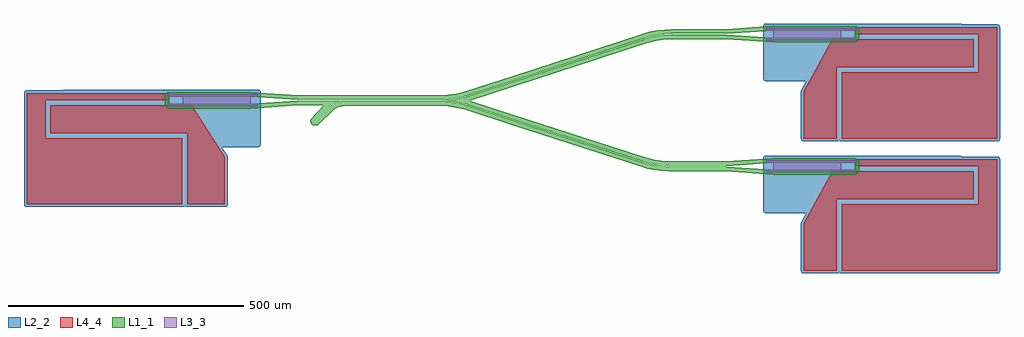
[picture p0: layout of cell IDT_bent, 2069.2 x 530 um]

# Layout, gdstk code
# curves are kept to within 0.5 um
import gdstk
lib = gdstk.Library(unit=1e-6, precision=1e-09)
def P(c, l, *ps):  # polygons
    for p in ps: c.add(gdstk.Polygon(p, *l))
L1_1 = (1, 1)
L2_2 = (2, 2)
L3_3 = (3, 3)
L4_4 = (4, 4)

idt_bent = lib.new_cell('IDT_bent')
P(idt_bent, L1_1, [(-1178.8,-12.75),(-1352.58,-12.702),(-1357.944,-10.48),(-1361.169,-5.653),(-1361.552,13.23),(-1360.839,16.077),(-1358.671,19.321),(-1355.427,21.489),(-1351.6,22.25),(-1178.8,22.25),(-1078.455,15.35),(-778.833,15.35),(-761.47,16.145),(-741.85,18.989),(-722.635,23.869),(-623.677,56.018),(-623.677,45.491),(-724.675,12.836),(-745.032,8.23),(-765.759,5.777),(-1078.8,5.35),(-1178.8,12.25),(-1351.6,12.25),(-1351.6,-2.75),(-1178.8,-2.75),(-1078.8,4.15),(-770.924,4.305),(-750.015,6.226),(-726.881,10.985),(-623.677,44.229),(-623.677,33.721),(-714.846,4.1),(-623.677,-25.521),(-623.677,-36.029),(-721.827,-4.211),(-739.665,0.196),(-755.222,2.66),(-778.8,4.05),(-979.431,4.046),(-986.342,3.485),(-993.715,1.802),(-1000.755,-0.961),(-1007.304,-4.742),(-1014.58,-10.77),(-1042.44,-39.479),(-1008.628,-7.172),(-997.989,-1.029),(-986.771,2.203),(-978.8,2.85),(-773.58,2.782),(-750.188,0.786),(-727.191,-3.944),(-623.677,-37.291),(-623.677,-47.818),(-722.635,-15.669),(-741.85,-10.789),(-761.47,-7.945),(-778.833,-7.15),(-984.186,-7.52),(-994.104,-10.244),(-1002.59,-15.143),(-1037.103,-47.937),(-1042.589,-49.478),(-1047.203,-48.272),(-1050.158,-45.837),(-1051.982,-42.471),(-1052.407,-38.666),(-1051.371,-34.981),(-1023.801,-5.85),(-1078.455,-5.85)],
  [(-349.587,145.063),(-333.67,149.546),(-317.451,152.767),(-301.159,154.695),(-287.393,155.331),(-171.545,155.35),(-71.2,162.25),(102.58,162.202),(105.427,161.489),(108.671,159.321),(110.839,156.077),(111.552,153.23),(111.169,134.347),(107.944,129.52),(102.58,127.298),(-71.2,127.25),(-171.545,134.15),(-289.528,134.085),(-304.368,133.112),(-319.086,130.978),(-343.129,124.87),(-623.677,33.721),(-623.677,44.229),(-343.701,135.181),(-328.578,139.233),(-313.183,142.086),(-287.181,144.133),(-171.2,144.15),(-71.2,137.25),(101.6,137.25),(101.6,152.25),(-71.2,152.25),(-171.2,145.35),(-287.196,145.333),(-310.754,143.634),(-328.842,140.404),(-344.057,136.327),(-623.677,45.491),(-623.677,56.018)],
  [(-347.13,-115.37),(-323.087,-121.478),(-308.369,-123.612),(-293.529,-124.585),(-171.545,-124.65),(-71.2,-117.75),(102.58,-117.798),(106.314,-118.931),(109.33,-121.406),(110.839,-123.923),(111.6,-127.75),(111.6,-142.75),(110.839,-146.577),(107.156,-151.065),(102.58,-152.702),(-71.2,-152.75),(-171.545,-145.85),(-294.019,-145.779),(-307.907,-144.96),(-324.172,-142.819),(-337.799,-140.016),(-353.588,-135.563),(-623.677,-47.818),(-623.677,-37.291),(-348.058,-126.827),(-330.279,-131.466),(-312.15,-134.46),(-291.197,-135.833),(-171.2,-135.85),(-71.2,-142.75),(101.6,-142.75),(101.6,-127.75),(-71.2,-127.75),(-171.2,-134.65),(-291.182,-134.633),(-317.184,-132.586),(-332.579,-129.733),(-347.702,-125.681),(-623.677,-36.029),(-623.677,-25.521)])
P(idt_bent, L2_2, [(-12.4,23.5),(-11.678,26.353),(-1.329,45.5),(-86.4,45.5),(-89.228,46.208),(-91.692,48.672),(-92.4,51.5),(-92.4,161.5),(-91.389,164.833),(-88.142,167.242),(323.6,167.5),(325.896,167.043),(328.063,165.5),(404.188,165.471),(407.406,164.138),(409.342,161.242),(409.6,-76.5),(408.589,-79.833),(405.342,-82.242),(73.6,-82.5),(70.772,-81.792),(68.6,-79.815),(66.428,-81.792),(63.6,-82.5),(-8.142,-82.242),(-11.389,-79.833),(-12.4,-76.5)],
  [(-6.4,-362.5),(-10.643,-360.743),(-12.371,-357.088),(-12.4,-256.5),(-11.678,-253.647),(-1.329,-234.5),(-86.4,-234.5),(-89.228,-233.792),(-91.389,-231.833),(-92.4,-228.5),(-92.4,-118.5),(-91.692,-115.672),(-89.228,-113.208),(-86.4,-112.5),(323.6,-112.5),(325.896,-112.957),(328.063,-114.5),(404.188,-114.529),(406.933,-115.511),(408.892,-117.672),(409.6,-120.5),(409.6,-356.5),(408.892,-359.328),(406.428,-361.792),(403.6,-362.5),(73.6,-362.5),(70.772,-361.792),(68.6,-359.815),(66.428,-361.792),(63.6,-362.5)],
  [(-1578.063,25.5),(-1575.896,27.043),(-1573.6,27.5),(-1161.858,27.242),(-1158.611,24.833),(-1157.6,21.5),(-1157.858,-90.242),(-1159.794,-93.138),(-1163.012,-94.471),(-1239.852,-94.5),(-1228.538,-112.279),(-1227.627,-114.934),(-1227.6,-215.5),(-1228.611,-218.833),(-1231.858,-221.242),(-1313.6,-221.5),(-1316.428,-220.792),(-1318.6,-218.815),(-1320.772,-220.792),(-1323.6,-221.5),(-1655.342,-221.242),(-1658.589,-218.833),(-1659.6,-215.5),(-1659.342,21.242),(-1657.406,24.138),(-1654.188,25.471)])
P(idt_bent, L3_3, [(-68.845,-128.25),(-68.4,-128.25),(-68.4,-143),(-67.045,-143),(-67.045,-128.25),(-66.6,-128.25),(-66.6,-143),(-65.245,-143),(-65.245,-128.25),(-64.8,-128.25),(-64.8,-143),(-63.445,-143),(-63.445,-128.25),(-63,-128.25),(-63,-143),(-61.645,-143),(-61.645,-128.25),(-61.2,-128.25),(-61.2,-143),(-59.845,-143),(-59.845,-128.25),(-59.4,-128.25),(-59.4,-143),(-58.045,-143),(-58.045,-128.25),(-57.6,-128.25),(-57.6,-143),(-56.245,-143),(-56.245,-128.25),(-55.8,-128.25),(-55.8,-143),(-54.445,-143),(-54.445,-128.25),(-54,-128.25),(-54,-143),(-52.645,-143),(-52.645,-128.25),(-52.2,-128.25),(-52.2,-143),(-50.845,-143),(-50.845,-128.25),(-50.4,-128.25),(-50.4,-143),(-49.045,-143),(-49.045,-128.25),(-48.6,-128.25),(-48.6,-143),(-47.245,-143),(-47.245,-128.25),(-46.8,-128.25),(-46.8,-143),(-45.445,-143),(-45.445,-128.25),(-45,-128.25),(-45,-143),(-43.645,-143),(-43.645,-128.25),(-43.2,-128.25),(-43.2,-143),(-41.845,-143),(-41.845,-128.25),(-41.4,-128.25),(-41.4,-143),(-40.045,-143),(-40.045,-128.25),(-39.6,-128.25),(-39.6,-143),(-38.245,-143),(-38.245,-128.25),(-37.8,-128.25),(-37.8,-143),(-36.445,-143),(-36.445,-128.25),(-36,-128.25),(-36,-143),(-34.645,-143),(-34.645,-128.25),(-34.2,-128.25),(-34.2,-143),(-32.845,-143),(-32.845,-128.25),(-32.4,-128.25),(-32.4,-143),(-31.045,-143),(-31.045,-128.25),(-30.6,-128.25),(-30.6,-143),(-29.245,-143),(-29.245,-128.25),(-28.8,-128.25),(-28.8,-143),(-27.445,-143),(-27.445,-128.25),(-27,-128.25),(-27,-143),(-25.645,-143),(-25.645,-128.25),(-25.2,-128.25),(-25.2,-143),(-23.845,-143),(-23.845,-128.25),(-23.4,-128.25),(-23.4,-143),(-22.045,-143),(-22.045,-128.25),(-21.6,-128.25),(-21.6,-143),(-20.245,-143),(-20.245,-128.25),(-19.8,-128.25),(-19.8,-143),(-18.445,-143),(-18.445,-128.25),(-18,-128.25),(-18,-143),(-16.645,-143),(-16.645,-128.25),(-16.2,-128.25),(-16.2,-143),(-14.845,-143),(-14.845,-128.25),(-14.4,-128.25),(-14.4,-143),(-13.045,-143),(-13.045,-128.25),(-12.6,-128.25),(-12.6,-143),(-11.245,-143),(-11.245,-128.25),(-10.8,-128.25),(-10.8,-143),(-9.445,-143),(-9.445,-128.25),(-9,-128.25),(-9,-143),(-7.645,-143),(-7.645,-128.25),(-7.2,-128.25),(-7.2,-143),(-5.845,-143),(-5.845,-128.25),(-5.4,-128.25),(-5.4,-143),(-4.045,-143),(-4.045,-128.25),(-3.6,-128.25),(-3.6,-143),(-2.245,-143),(-2.245,-128.25),(-1.8,-128.25),(-1.8,-143),(-0.445,-143),(-0.445,-128.25),(0,-128.25),(0,-143),(1.355,-143),(1.355,-128.25),(1.8,-128.25),(1.8,-143),(3.155,-143),(3.155,-128.25),(3.6,-128.25),(3.6,-143),(4.955,-143),(4.955,-128.25),(5.4,-128.25),(5.4,-143),(6.755,-143),(6.755,-128.25),(7.2,-128.25),(7.2,-143),(8.555,-143),(8.555,-128.25),(9,-128.25),(9,-143),(10.355,-143),(10.355,-128.25),(10.8,-128.25),(10.8,-143),(12.155,-143),(12.155,-128.25),(12.6,-128.25),(12.6,-143),(13.955,-143),(13.955,-128.25),(14.4,-128.25),(14.4,-143),(15.755,-143),(15.755,-128.25),(16.2,-128.25),(16.2,-143),(17.555,-143),(17.555,-128.25),(18,-128.25),(18,-143),(19.355,-143),(19.355,-128.25),(19.8,-128.25),(19.8,-143),(21.155,-143),(21.155,-128.25),(21.6,-128.25),(21.6,-143),(22.955,-143),(22.955,-128.25),(23.4,-128.25),(23.4,-143),(24.755,-143),(24.755,-128.25),(25.2,-128.25),(25.2,-143),(26.555,-143),(26.555,-128.25),(27,-128.25),(27,-143),(28.355,-143),(28.355,-128.25),(28.8,-128.25),(28.8,-143),(30.155,-143),(30.155,-128.25),(30.6,-128.25),(30.6,-143),(31.955,-143),(31.955,-128.25),(32.4,-128.25),(32.4,-143),(33.755,-143),(33.755,-128.25),(34.2,-128.25),(34.2,-143),(35.555,-143),(35.555,-128.25),(36,-128.25),(36,-143),(37.355,-143),(37.355,-128.25),(37.8,-128.25),(37.8,-143),(39.155,-143),(39.155,-128.25),(39.6,-128.25),(39.6,-143),(40.955,-143),(40.955,-128.25),(41.4,-128.25),(41.4,-143),(42.755,-143),(42.755,-128.25),(43.2,-128.25),(43.2,-143),(44.555,-143),(44.555,-128.25),(45,-128.25),(45,-143),(46.355,-143),(46.355,-128.25),(46.8,-128.25),(46.8,-143),(48.155,-143),(48.155,-128.25),(48.6,-128.25),(48.6,-143),(49.955,-143),(49.955,-128.25),(50.4,-128.25),(50.4,-143),(51.755,-143),(51.755,-128.25),(52.2,-128.25),(52.2,-143),(53.555,-143),(53.555,-128.25),(54,-128.25),(54,-143),(55.355,-143),(55.355,-128.25),(55.8,-128.25),(55.8,-143),(57.155,-143),(57.155,-128.25),(57.6,-128.25),(57.6,-143),(58.955,-143),(58.955,-128.25),(59.4,-128.25),(59.4,-143),(60.755,-143),(60.755,-128.25),(61.2,-128.25),(61.2,-143),(62.555,-143),(62.555,-128.25),(63,-128.25),(63,-143),(64.355,-143),(64.355,-128.25),(64.8,-128.25),(64.8,-143),(66.155,-143),(66.155,-128.25),(66.6,-128.25),(66.6,-143),(67.955,-143),(67.955,-128.25),(68.4,-128.25),(68.4,-143),(69.755,-143),(69.755,-128.25),(70.2,-128.25),(70.2,-143),(71.555,-143),(71.555,-128.25),(72,-128.25),(72,-143),(105.6,-143),(105.6,-148),(-86.4,-148),(-86.4,-143),(-70.645,-143),(-70.645,-128.25),(-70.2,-128.25),(-70.2,-143),(-68.845,-143),(-68.845,-128.25)],
  [(-56.7,-142.25),(-57.145,-142.25),(-57.145,-127.5),(-58.5,-127.5),(-58.5,-142.25),(-58.945,-142.25),(-58.945,-127.5),(-60.3,-127.5),(-60.3,-142.25),(-60.745,-142.25),(-60.745,-127.5),(-62.1,-127.5),(-62.1,-142.25),(-62.545,-142.25),(-62.545,-127.5),(-63.9,-127.5),(-63.9,-142.25),(-64.345,-142.25),(-64.345,-127.5),(-65.7,-127.5),(-65.7,-142.25),(-66.145,-142.25),(-66.145,-127.5),(-67.5,-127.5),(-67.5,-142.25),(-67.945,-142.25),(-67.945,-127.5),(-69.3,-127.5),(-69.3,-142.25),(-69.745,-142.25),(-69.745,-127.5),(-86.4,-127.5),(-86.4,-122.5),(105.6,-122.5),(105.6,-127.5),(72.9,-127.5),(72.9,-142.25),(72.455,-142.25),(72.455,-127.5),(71.1,-127.5),(71.1,-142.25),(70.655,-142.25),(70.655,-127.5),(69.3,-127.5),(69.3,-142.25),(68.855,-142.25),(68.855,-127.5),(67.5,-127.5),(67.5,-142.25),(67.055,-142.25),(67.055,-127.5),(65.7,-127.5),(65.7,-142.25),(65.255,-142.25),(65.255,-127.5),(63.9,-127.5),(63.9,-142.25),(63.455,-142.25),(63.455,-127.5),(62.1,-127.5),(62.1,-142.25),(61.655,-142.25),(61.655,-127.5),(60.3,-127.5),(60.3,-142.25),(59.855,-142.25),(59.855,-127.5),(58.5,-127.5),(58.5,-142.25),(58.055,-142.25),(58.055,-127.5),(56.7,-127.5),(56.7,-142.25),(56.255,-142.25),(56.255,-127.5),(54.9,-127.5),(54.9,-142.25),(54.455,-142.25),(54.455,-127.5),(53.1,-127.5),(53.1,-142.25),(52.655,-142.25),(52.655,-127.5),(51.3,-127.5),(51.3,-142.25),(50.855,-142.25),(50.855,-127.5),(49.5,-127.5),(49.5,-142.25),(49.055,-142.25),(49.055,-127.5),(47.7,-127.5),(47.7,-142.25),(47.255,-142.25),(47.255,-127.5),(45.9,-127.5),(45.9,-142.25),(45.455,-142.25),(45.455,-127.5),(44.1,-127.5),(44.1,-142.25),(43.655,-142.25),(43.655,-127.5),(42.3,-127.5),(42.3,-142.25),(41.855,-142.25),(41.855,-127.5),(40.5,-127.5),(40.5,-142.25),(40.055,-142.25),(40.055,-127.5),(38.7,-127.5),(38.7,-142.25),(38.255,-142.25),(38.255,-127.5),(36.9,-127.5),(36.9,-142.25),(36.455,-142.25),(36.455,-127.5),(35.1,-127.5),(35.1,-142.25),(34.655,-142.25),(34.655,-127.5),(33.3,-127.5),(33.3,-142.25),(32.855,-142.25),(32.855,-127.5),(31.5,-127.5),(31.5,-142.25),(31.055,-142.25),(31.055,-127.5),(29.7,-127.5),(29.7,-142.25),(29.255,-142.25),(29.255,-127.5),(27.9,-127.5),(27.9,-142.25),(27.455,-142.25),(27.455,-127.5),(26.1,-127.5),(26.1,-142.25),(25.655,-142.25),(25.655,-127.5),(24.3,-127.5),(24.3,-142.25),(23.855,-142.25),(23.855,-127.5),(22.5,-127.5),(22.5,-142.25),(22.055,-142.25),(22.055,-127.5),(20.7,-127.5),(20.7,-142.25),(20.255,-142.25),(20.255,-127.5),(18.9,-127.5),(18.9,-142.25),(18.455,-142.25),(18.455,-127.5),(17.1,-127.5),(17.1,-142.25),(16.655,-142.25),(16.655,-127.5),(15.3,-127.5),(15.3,-142.25),(14.855,-142.25),(14.855,-127.5),(13.5,-127.5),(13.5,-142.25),(13.055,-142.25),(13.055,-127.5),(11.7,-127.5),(11.7,-142.25),(11.255,-142.25),(11.255,-127.5),(9.9,-127.5),(9.9,-142.25),(9.455,-142.25),(9.455,-127.5),(8.1,-127.5),(8.1,-142.25),(7.655,-142.25),(7.655,-127.5),(6.3,-127.5),(6.3,-142.25),(5.855,-142.25),(5.855,-127.5),(4.5,-127.5),(4.5,-142.25),(4.055,-142.25),(4.055,-127.5),(2.7,-127.5),(2.7,-142.25),(2.255,-142.25),(2.255,-127.5),(0.9,-127.5),(0.9,-142.25),(0.455,-142.25),(0.455,-127.5),(-0.9,-127.5),(-0.9,-142.25),(-1.345,-142.25),(-1.345,-127.5),(-2.7,-127.5),(-2.7,-142.25),(-3.145,-142.25),(-3.145,-127.5),(-4.5,-127.5),(-4.5,-142.25),(-4.945,-142.25),(-4.945,-127.5),(-6.3,-127.5),(-6.3,-142.25),(-6.745,-142.25),(-6.745,-127.5),(-8.1,-127.5),(-8.1,-142.25),(-8.545,-142.25),(-8.545,-127.5),(-9.9,-127.5),(-9.9,-142.25),(-10.345,-142.25),(-10.345,-127.5),(-11.7,-127.5),(-11.7,-142.25),(-12.145,-142.25),(-12.145,-127.5),(-13.5,-127.5),(-13.5,-142.25),(-13.945,-142.25),(-13.945,-127.5),(-15.3,-127.5),(-15.3,-142.25),(-15.745,-142.25),(-15.745,-127.5),(-17.1,-127.5),(-17.1,-142.25),(-17.545,-142.25),(-17.545,-127.5),(-18.9,-127.5),(-18.9,-142.25),(-19.345,-142.25),(-19.345,-127.5),(-20.7,-127.5),(-20.7,-142.25),(-21.145,-142.25),(-21.145,-127.5),(-22.5,-127.5),(-22.5,-142.25),(-22.945,-142.25),(-22.945,-127.5),(-24.3,-127.5),(-24.3,-142.25),(-24.745,-142.25),(-24.745,-127.5),(-26.1,-127.5),(-26.1,-142.25),(-26.545,-142.25),(-26.545,-127.5),(-27.9,-127.5),(-27.9,-142.25),(-28.345,-142.25),(-28.345,-127.5),(-29.7,-127.5),(-29.7,-142.25),(-30.145,-142.25),(-30.145,-127.5),(-31.5,-127.5),(-31.5,-142.25),(-31.945,-142.25),(-31.945,-127.5),(-33.3,-127.5),(-33.3,-142.25),(-33.745,-142.25),(-33.745,-127.5),(-35.1,-127.5),(-35.1,-142.25),(-35.545,-142.25),(-35.545,-127.5),(-36.9,-127.5),(-36.9,-142.25),(-37.345,-142.25),(-37.345,-127.5),(-38.7,-127.5),(-38.7,-142.25),(-39.145,-142.25),(-39.145,-127.5),(-40.5,-127.5),(-40.5,-142.25),(-40.945,-142.25),(-40.945,-127.5),(-42.3,-127.5),(-42.3,-142.25),(-42.745,-142.25),(-42.745,-127.5),(-44.1,-127.5),(-44.1,-142.25),(-44.545,-142.25),(-44.545,-127.5),(-45.9,-127.5),(-45.9,-142.25),(-46.345,-142.25),(-46.345,-127.5),(-47.7,-127.5),(-47.7,-142.25),(-48.145,-142.25),(-48.145,-127.5),(-49.5,-127.5),(-49.5,-142.25),(-49.945,-142.25),(-49.945,-127.5),(-51.3,-127.5),(-51.3,-142.25),(-51.745,-142.25),(-51.745,-127.5),(-53.1,-127.5),(-53.1,-142.25),(-53.545,-142.25),(-53.545,-127.5),(-54.9,-127.5),(-54.9,-142.25),(-55.345,-142.25),(-55.345,-127.5),(-56.7,-127.5),(-56.7,-142.25)],
  [(-1298.6,11.75),(-1298.155,11.75),(-1298.155,-3),(-1296.8,-3),(-1296.8,11.75),(-1296.355,11.75),(-1296.355,-3),(-1295,-3),(-1295,11.75),(-1294.555,11.75),(-1294.555,-3),(-1293.2,-3),(-1293.2,11.75),(-1292.755,11.75),(-1292.755,-3),(-1291.4,-3),(-1291.4,11.75),(-1290.955,11.75),(-1290.955,-3),(-1289.6,-3),(-1289.6,11.75),(-1289.155,11.75),(-1289.155,-3),(-1287.8,-3),(-1287.8,11.75),(-1287.355,11.75),(-1287.355,-3),(-1286,-3),(-1286,11.75),(-1285.555,11.75),(-1285.555,-3),(-1284.2,-3),(-1284.2,11.75),(-1283.755,11.75),(-1283.755,-3),(-1282.4,-3),(-1282.4,11.75),(-1281.955,11.75),(-1281.955,-3),(-1280.6,-3),(-1280.6,11.75),(-1280.155,11.75),(-1280.155,-3),(-1278.8,-3),(-1278.8,11.75),(-1278.355,11.75),(-1278.355,-3),(-1277,-3),(-1277,11.75),(-1276.555,11.75),(-1276.555,-3),(-1275.2,-3),(-1275.2,11.75),(-1274.755,11.75),(-1274.755,-3),(-1273.4,-3),(-1273.4,11.75),(-1272.955,11.75),(-1272.955,-3),(-1271.6,-3),(-1271.6,11.75),(-1271.155,11.75),(-1271.155,-3),(-1269.8,-3),(-1269.8,11.75),(-1269.355,11.75),(-1269.355,-3),(-1268,-3),(-1268,11.75),(-1267.555,11.75),(-1267.555,-3),(-1266.2,-3),(-1266.2,11.75),(-1265.755,11.75),(-1265.755,-3),(-1264.4,-3),(-1264.4,11.75),(-1263.955,11.75),(-1263.955,-3),(-1262.6,-3),(-1262.6,11.75),(-1262.155,11.75),(-1262.155,-3),(-1260.8,-3),(-1260.8,11.75),(-1260.355,11.75),(-1260.355,-3),(-1259,-3),(-1259,11.75),(-1258.555,11.75),(-1258.555,-3),(-1257.2,-3),(-1257.2,11.75),(-1256.755,11.75),(-1256.755,-3),(-1255.4,-3),(-1255.4,11.75),(-1254.955,11.75),(-1254.955,-3),(-1253.6,-3),(-1253.6,11.75),(-1253.155,11.75),(-1253.155,-3),(-1251.8,-3),(-1251.8,11.75),(-1251.355,11.75),(-1251.355,-3),(-1250,-3),(-1250,11.75),(-1249.555,11.75),(-1249.555,-3),(-1248.2,-3),(-1248.2,11.75),(-1247.755,11.75),(-1247.755,-3),(-1246.4,-3),(-1246.4,11.75),(-1245.955,11.75),(-1245.955,-3),(-1244.6,-3),(-1244.6,11.75),(-1244.155,11.75),(-1244.155,-3),(-1242.8,-3),(-1242.8,11.75),(-1242.355,11.75),(-1242.355,-3),(-1241,-3),(-1241,11.75),(-1240.555,11.75),(-1240.555,-3),(-1239.2,-3),(-1239.2,11.75),(-1238.755,11.75),(-1238.755,-3),(-1237.4,-3),(-1237.4,11.75),(-1236.955,11.75),(-1236.955,-3),(-1235.6,-3),(-1235.6,11.75),(-1235.155,11.75),(-1235.155,-3),(-1233.8,-3),(-1233.8,11.75),(-1233.355,11.75),(-1233.355,-3),(-1232,-3),(-1232,11.75),(-1231.555,11.75),(-1231.555,-3),(-1230.2,-3),(-1230.2,11.75),(-1229.755,11.75),(-1229.755,-3),(-1228.4,-3),(-1228.4,11.75),(-1227.955,11.75),(-1227.955,-3),(-1226.6,-3),(-1226.6,11.75),(-1226.155,11.75),(-1226.155,-3),(-1224.8,-3),(-1224.8,11.75),(-1224.355,11.75),(-1224.355,-3),(-1223,-3),(-1223,11.75),(-1222.555,11.75),(-1222.555,-3),(-1221.2,-3),(-1221.2,11.75),(-1220.755,11.75),(-1220.755,-3),(-1219.4,-3),(-1219.4,11.75),(-1218.955,11.75),(-1218.955,-3),(-1217.6,-3),(-1217.6,11.75),(-1217.155,11.75),(-1217.155,-3),(-1215.8,-3),(-1215.8,11.75),(-1215.355,11.75),(-1215.355,-3),(-1214,-3),(-1214,11.75),(-1213.555,11.75),(-1213.555,-3),(-1212.2,-3),(-1212.2,11.75),(-1211.755,11.75),(-1211.755,-3),(-1210.4,-3),(-1210.4,11.75),(-1209.955,11.75),(-1209.955,-3),(-1208.6,-3),(-1208.6,11.75),(-1208.155,11.75),(-1208.155,-3),(-1206.8,-3),(-1206.8,11.75),(-1206.355,11.75),(-1206.355,-3),(-1205,-3),(-1205,11.75),(-1204.555,11.75),(-1204.555,-3),(-1203.2,-3),(-1203.2,11.75),(-1202.755,11.75),(-1202.755,-3),(-1201.4,-3),(-1201.4,11.75),(-1200.955,11.75),(-1200.955,-3),(-1199.6,-3),(-1199.6,11.75),(-1199.155,11.75),(-1199.155,-3),(-1197.8,-3),(-1197.8,11.75),(-1197.355,11.75),(-1197.355,-3),(-1196,-3),(-1196,11.75),(-1195.555,11.75),(-1195.555,-3),(-1194.2,-3),(-1194.2,11.75),(-1193.755,11.75),(-1193.755,-3),(-1192.4,-3),(-1192.4,11.75),(-1191.955,11.75),(-1191.955,-3),(-1190.6,-3),(-1190.6,11.75),(-1190.155,11.75),(-1190.155,-3),(-1188.8,-3),(-1188.8,11.75),(-1188.355,11.75),(-1188.355,-3),(-1187,-3),(-1187,11.75),(-1186.555,11.75),(-1186.555,-3),(-1185.2,-3),(-1185.2,11.75),(-1184.755,11.75),(-1184.755,-3),(-1183.4,-3),(-1183.4,11.75),(-1182.955,11.75),(-1182.955,-3),(-1181.6,-3),(-1181.6,11.75),(-1181.155,11.75),(-1181.155,-3),(-1179.8,-3),(-1179.8,11.75),(-1179.355,11.75),(-1179.355,-3),(-1163.6,-3),(-1163.6,-8),(-1355.6,-8),(-1355.6,-3),(-1322,-3),(-1322,11.75),(-1321.555,11.75),(-1321.555,-3),(-1320.2,-3),(-1320.2,11.75),(-1319.755,11.75),(-1319.755,-3),(-1318.4,-3),(-1318.4,11.75),(-1317.955,11.75),(-1317.955,-3),(-1316.6,-3),(-1316.6,11.75),(-1316.155,11.75),(-1316.155,-3),(-1314.8,-3),(-1314.8,11.75),(-1314.355,11.75),(-1314.355,-3),(-1313,-3),(-1313,11.75),(-1312.555,11.75),(-1312.555,-3),(-1311.2,-3),(-1311.2,11.75),(-1310.755,11.75),(-1310.755,-3),(-1309.4,-3),(-1309.4,11.75),(-1308.955,11.75),(-1308.955,-3),(-1307.6,-3),(-1307.6,11.75),(-1307.155,11.75),(-1307.155,-3),(-1305.8,-3),(-1305.8,11.75),(-1305.355,11.75),(-1305.355,-3),(-1304,-3),(-1304,11.75),(-1303.555,11.75),(-1303.555,-3),(-1302.2,-3),(-1302.2,11.75),(-1301.755,11.75),(-1301.755,-3),(-1300.4,-3),(-1300.4,11.75),(-1299.955,11.75),(-1299.955,-3),(-1298.6,-3),(-1298.6,11.75)],
  [(-1295.455,-2.25),(-1295.9,-2.25),(-1295.9,12.5),(-1297.255,12.5),(-1297.255,-2.25),(-1297.7,-2.25),(-1297.7,12.5),(-1299.055,12.5),(-1299.055,-2.25),(-1299.5,-2.25),(-1299.5,12.5),(-1300.855,12.5),(-1300.855,-2.25),(-1301.3,-2.25),(-1301.3,12.5),(-1302.655,12.5),(-1302.655,-2.25),(-1303.1,-2.25),(-1303.1,12.5),(-1304.455,12.5),(-1304.455,-2.25),(-1304.9,-2.25),(-1304.9,12.5),(-1306.255,12.5),(-1306.255,-2.25),(-1306.7,-2.25),(-1306.7,12.5),(-1308.055,12.5),(-1308.055,-2.25),(-1308.5,-2.25),(-1308.5,12.5),(-1309.855,12.5),(-1309.855,-2.25),(-1310.3,-2.25),(-1310.3,12.5),(-1311.655,12.5),(-1311.655,-2.25),(-1312.1,-2.25),(-1312.1,12.5),(-1313.455,12.5),(-1313.455,-2.25),(-1313.9,-2.25),(-1313.9,12.5),(-1315.255,12.5),(-1315.255,-2.25),(-1315.7,-2.25),(-1315.7,12.5),(-1317.055,12.5),(-1317.055,-2.25),(-1317.5,-2.25),(-1317.5,12.5),(-1318.855,12.5),(-1318.855,-2.25),(-1319.3,-2.25),(-1319.3,12.5),(-1320.655,12.5),(-1320.655,-2.25),(-1321.1,-2.25),(-1321.1,12.5),(-1322.455,12.5),(-1322.455,-2.25),(-1322.9,-2.25),(-1322.9,12.5),(-1355.6,12.5),(-1355.6,17.5),(-1163.6,17.5),(-1163.6,12.5),(-1180.255,12.5),(-1180.255,-2.25),(-1180.7,-2.25),(-1180.7,12.5),(-1182.055,12.5),(-1182.055,-2.25),(-1182.5,-2.25),(-1182.5,12.5),(-1183.855,12.5),(-1183.855,-2.25),(-1184.3,-2.25),(-1184.3,12.5),(-1185.655,12.5),(-1185.655,-2.25),(-1186.1,-2.25),(-1186.1,12.5),(-1187.455,12.5),(-1187.455,-2.25),(-1187.9,-2.25),(-1187.9,12.5),(-1189.255,12.5),(-1189.255,-2.25),(-1189.7,-2.25),(-1189.7,12.5),(-1191.055,12.5),(-1191.055,-2.25),(-1191.5,-2.25),(-1191.5,12.5),(-1192.855,12.5),(-1192.855,-2.25),(-1193.3,-2.25),(-1193.3,12.5),(-1194.655,12.5),(-1194.655,-2.25),(-1195.1,-2.25),(-1195.1,12.5),(-1196.455,12.5),(-1196.455,-2.25),(-1196.9,-2.25),(-1196.9,12.5),(-1198.255,12.5),(-1198.255,-2.25),(-1198.7,-2.25),(-1198.7,12.5),(-1200.055,12.5),(-1200.055,-2.25),(-1200.5,-2.25),(-1200.5,12.5),(-1201.855,12.5),(-1201.855,-2.25),(-1202.3,-2.25),(-1202.3,12.5),(-1203.655,12.5),(-1203.655,-2.25),(-1204.1,-2.25),(-1204.1,12.5),(-1205.455,12.5),(-1205.455,-2.25),(-1205.9,-2.25),(-1205.9,12.5),(-1207.255,12.5),(-1207.255,-2.25),(-1207.7,-2.25),(-1207.7,12.5),(-1209.055,12.5),(-1209.055,-2.25),(-1209.5,-2.25),(-1209.5,12.5),(-1210.855,12.5),(-1210.855,-2.25),(-1211.3,-2.25),(-1211.3,12.5),(-1212.655,12.5),(-1212.655,-2.25),(-1213.1,-2.25),(-1213.1,12.5),(-1214.455,12.5),(-1214.455,-2.25),(-1214.9,-2.25),(-1214.9,12.5),(-1216.255,12.5),(-1216.255,-2.25),(-1216.7,-2.25),(-1216.7,12.5),(-1218.055,12.5),(-1218.055,-2.25),(-1218.5,-2.25),(-1218.5,12.5),(-1219.855,12.5),(-1219.855,-2.25),(-1220.3,-2.25),(-1220.3,12.5),(-1221.655,12.5),(-1221.655,-2.25),(-1222.1,-2.25),(-1222.1,12.5),(-1223.455,12.5),(-1223.455,-2.25),(-1223.9,-2.25),(-1223.9,12.5),(-1225.255,12.5),(-1225.255,-2.25),(-1225.7,-2.25),(-1225.7,12.5),(-1227.055,12.5),(-1227.055,-2.25),(-1227.5,-2.25),(-1227.5,12.5),(-1228.855,12.5),(-1228.855,-2.25),(-1229.3,-2.25),(-1229.3,12.5),(-1230.655,12.5),(-1230.655,-2.25),(-1231.1,-2.25),(-1231.1,12.5),(-1232.455,12.5),(-1232.455,-2.25),(-1232.9,-2.25),(-1232.9,12.5),(-1234.255,12.5),(-1234.255,-2.25),(-1234.7,-2.25),(-1234.7,12.5),(-1236.055,12.5),(-1236.055,-2.25),(-1236.5,-2.25),(-1236.5,12.5),(-1237.855,12.5),(-1237.855,-2.25),(-1238.3,-2.25),(-1238.3,12.5),(-1239.655,12.5),(-1239.655,-2.25),(-1240.1,-2.25),(-1240.1,12.5),(-1241.455,12.5),(-1241.455,-2.25),(-1241.9,-2.25),(-1241.9,12.5),(-1243.255,12.5),(-1243.255,-2.25),(-1243.7,-2.25),(-1243.7,12.5),(-1245.055,12.5),(-1245.055,-2.25),(-1245.5,-2.25),(-1245.5,12.5),(-1246.855,12.5),(-1246.855,-2.25),(-1247.3,-2.25),(-1247.3,12.5),(-1248.655,12.5),(-1248.655,-2.25),(-1249.1,-2.25),(-1249.1,12.5),(-1250.455,12.5),(-1250.455,-2.25),(-1250.9,-2.25),(-1250.9,12.5),(-1252.255,12.5),(-1252.255,-2.25),(-1252.7,-2.25),(-1252.7,12.5),(-1254.055,12.5),(-1254.055,-2.25),(-1254.5,-2.25),(-1254.5,12.5),(-1255.855,12.5),(-1255.855,-2.25),(-1256.3,-2.25),(-1256.3,12.5),(-1257.655,12.5),(-1257.655,-2.25),(-1258.1,-2.25),(-1258.1,12.5),(-1259.455,12.5),(-1259.455,-2.25),(-1259.9,-2.25),(-1259.9,12.5),(-1261.255,12.5),(-1261.255,-2.25),(-1261.7,-2.25),(-1261.7,12.5),(-1263.055,12.5),(-1263.055,-2.25),(-1263.5,-2.25),(-1263.5,12.5),(-1264.855,12.5),(-1264.855,-2.25),(-1265.3,-2.25),(-1265.3,12.5),(-1266.655,12.5),(-1266.655,-2.25),(-1267.1,-2.25),(-1267.1,12.5),(-1268.455,12.5),(-1268.455,-2.25),(-1268.9,-2.25),(-1268.9,12.5),(-1270.255,12.5),(-1270.255,-2.25),(-1270.7,-2.25),(-1270.7,12.5),(-1272.055,12.5),(-1272.055,-2.25),(-1272.5,-2.25),(-1272.5,12.5),(-1273.855,12.5),(-1273.855,-2.25),(-1274.3,-2.25),(-1274.3,12.5),(-1275.655,12.5),(-1275.655,-2.25),(-1276.1,-2.25),(-1276.1,12.5),(-1277.455,12.5),(-1277.455,-2.25),(-1277.9,-2.25),(-1277.9,12.5),(-1279.255,12.5),(-1279.255,-2.25),(-1279.7,-2.25),(-1279.7,12.5),(-1281.055,12.5),(-1281.055,-2.25),(-1281.5,-2.25),(-1281.5,12.5),(-1282.855,12.5),(-1282.855,-2.25),(-1283.3,-2.25),(-1283.3,12.5),(-1284.655,12.5),(-1284.655,-2.25),(-1285.1,-2.25),(-1285.1,12.5),(-1286.455,12.5),(-1286.455,-2.25),(-1286.9,-2.25),(-1286.9,12.5),(-1288.255,12.5),(-1288.255,-2.25),(-1288.7,-2.25),(-1288.7,12.5),(-1290.055,12.5),(-1290.055,-2.25),(-1290.5,-2.25),(-1290.5,12.5),(-1291.855,12.5),(-1291.855,-2.25),(-1292.3,-2.25),(-1292.3,12.5),(-1293.655,12.5),(-1293.655,-2.25),(-1294.1,-2.25),(-1294.1,12.5),(-1295.455,12.5),(-1295.455,-2.25)],
  [(-68.4,151.75),(-68.4,137),(-67.045,137),(-67.045,151.75),(-66.6,151.75),(-66.6,137),(-65.245,137),(-65.245,151.75),(-64.8,151.75),(-64.8,137),(-63.445,137),(-63.445,151.75),(-63,151.75),(-63,137),(-61.645,137),(-61.645,151.75),(-61.2,151.75),(-61.2,137),(-59.845,137),(-59.845,151.75),(-59.4,151.75),(-59.4,137),(-58.045,137),(-58.045,151.75),(-57.6,151.75),(-57.6,137),(-56.245,137),(-56.245,151.75),(-55.8,151.75),(-55.8,137),(-54.445,137),(-54.445,151.75),(-54,151.75),(-54,137),(-52.645,137),(-52.645,151.75),(-52.2,151.75),(-52.2,137),(-50.845,137),(-50.845,151.75),(-50.4,151.75),(-50.4,137),(-49.045,137),(-49.045,151.75),(-48.6,151.75),(-48.6,137),(-47.245,137),(-47.245,151.75),(-46.8,151.75),(-46.8,137),(-45.445,137),(-45.445,151.75),(-45,151.75),(-45,137),(-43.645,137),(-43.645,151.75),(-43.2,151.75),(-43.2,137),(-41.845,137),(-41.845,151.75),(-41.4,151.75),(-41.4,137),(-40.045,137),(-40.045,151.75),(-39.6,151.75),(-39.6,137),(-38.245,137),(-38.245,151.75),(-37.8,151.75),(-37.8,137),(-36.445,137),(-36.445,151.75),(-36,151.75),(-36,137),(-34.645,137),(-34.645,151.75),(-34.2,151.75),(-34.2,137),(-32.845,137),(-32.845,151.75),(-32.4,151.75),(-32.4,137),(-31.045,137),(-31.045,151.75),(-30.6,151.75),(-30.6,137),(-29.245,137),(-29.245,151.75),(-28.8,151.75),(-28.8,137),(-27.445,137),(-27.445,151.75),(-27,151.75),(-27,137),(-25.645,137),(-25.645,151.75),(-25.2,151.75),(-25.2,137),(-23.845,137),(-23.845,151.75),(-23.4,151.75),(-23.4,137),(-22.045,137),(-22.045,151.75),(-21.6,151.75),(-21.6,137),(-20.245,137),(-20.245,151.75),(-19.8,151.75),(-19.8,137),(-18.445,137),(-18.445,151.75),(-18,151.75),(-18,137),(-16.645,137),(-16.645,151.75),(-16.2,151.75),(-16.2,137),(-14.845,137),(-14.845,151.75),(-14.4,151.75),(-14.4,137),(-13.045,137),(-13.045,151.75),(-12.6,151.75),(-12.6,137),(-11.245,137),(-11.245,151.75),(-10.8,151.75),(-10.8,137),(-9.445,137),(-9.445,151.75),(-9,151.75),(-9,137),(-7.645,137),(-7.645,151.75),(-7.2,151.75),(-7.2,137),(-5.845,137),(-5.845,151.75),(-5.4,151.75),(-5.4,137),(-4.045,137),(-4.045,151.75),(-3.6,151.75),(-3.6,137),(-2.245,137),(-2.245,151.75),(-1.8,151.75),(-1.8,137),(-0.445,137),(-0.445,151.75),(0,151.75),(0,137),(1.355,137),(1.355,151.75),(1.8,151.75),(1.8,137),(3.155,137),(3.155,151.75),(3.6,151.75),(3.6,137),(4.955,137),(4.955,151.75),(5.4,151.75),(5.4,137),(6.755,137),(6.755,151.75),(7.2,151.75),(7.2,137),(8.555,137),(8.555,151.75),(9,151.75),(9,137),(10.355,137),(10.355,151.75),(10.8,151.75),(10.8,137),(12.155,137),(12.155,151.75),(12.6,151.75),(12.6,137),(13.955,137),(13.955,151.75),(14.4,151.75),(14.4,137),(15.755,137),(15.755,151.75),(16.2,151.75),(16.2,137),(17.555,137),(17.555,151.75),(18,151.75),(18,137),(19.355,137),(19.355,151.75),(19.8,151.75),(19.8,137),(21.155,137),(21.155,151.75),(21.6,151.75),(21.6,137),(22.955,137),(22.955,151.75),(23.4,151.75),(23.4,137),(24.755,137),(24.755,151.75),(25.2,151.75),(25.2,137),(26.555,137),(26.555,151.75),(27,151.75),(27,137),(28.355,137),(28.355,151.75),(28.8,151.75),(28.8,137),(30.155,137),(30.155,151.75),(30.6,151.75),(30.6,137),(31.955,137),(31.955,151.75),(32.4,151.75),(32.4,137),(33.755,137),(33.755,151.75),(34.2,151.75),(34.2,137),(35.555,137),(35.555,151.75),(36,151.75),(36,137),(37.355,137),(37.355,151.75),(37.8,151.75),(37.8,137),(39.155,137),(39.155,151.75),(39.6,151.75),(39.6,137),(40.955,137),(40.955,151.75),(41.4,151.75),(41.4,137),(42.755,137),(42.755,151.75),(43.2,151.75),(43.2,137),(44.555,137),(44.555,151.75),(45,151.75),(45,137),(46.355,137),(46.355,151.75),(46.8,151.75),(46.8,137),(48.155,137),(48.155,151.75),(48.6,151.75),(48.6,137),(49.955,137),(49.955,151.75),(50.4,151.75),(50.4,137),(51.755,137),(51.755,151.75),(52.2,151.75),(52.2,137),(53.555,137),(53.555,151.75),(54,151.75),(54,137),(55.355,137),(55.355,151.75),(55.8,151.75),(55.8,137),(57.155,137),(57.155,151.75),(57.6,151.75),(57.6,137),(58.955,137),(58.955,151.75),(59.4,151.75),(59.4,137),(60.755,137),(60.755,151.75),(61.2,151.75),(61.2,137),(62.555,137),(62.555,151.75),(63,151.75),(63,137),(64.355,137),(64.355,151.75),(64.8,151.75),(64.8,137),(66.155,137),(66.155,151.75),(66.6,151.75),(66.6,137),(67.955,137),(67.955,151.75),(68.4,151.75),(68.4,137),(69.755,137),(69.755,151.75),(70.2,151.75),(70.2,137),(71.555,137),(71.555,151.75),(72,151.75),(72,137),(105.6,137),(105.6,132),(-86.4,132),(-86.4,137),(-70.645,137),(-70.645,151.75),(-70.2,151.75),(-70.2,137),(-68.845,137),(-68.845,151.75),(-68.4,151.75)],
  [(-56.7,137.75),(-57.145,137.75),(-57.145,152.5),(-58.5,152.5),(-58.5,137.75),(-58.945,137.75),(-58.945,152.5),(-60.3,152.5),(-60.3,137.75),(-60.745,137.75),(-60.745,152.5),(-62.1,152.5),(-62.1,137.75),(-62.545,137.75),(-62.545,152.5),(-63.9,152.5),(-63.9,137.75),(-64.345,137.75),(-64.345,152.5),(-65.7,152.5),(-65.7,137.75),(-66.145,137.75),(-66.145,152.5),(-67.5,152.5),(-67.5,137.75),(-67.945,137.75),(-67.945,152.5),(-69.3,152.5),(-69.3,137.75),(-69.745,137.75),(-69.745,152.5),(-86.4,152.5),(-86.4,157.5),(105.6,157.5),(105.6,152.5),(72.9,152.5),(72.9,137.75),(72.455,137.75),(72.455,152.5),(71.1,152.5),(71.1,137.75),(70.655,137.75),(70.655,152.5),(69.3,152.5),(69.3,137.75),(68.855,137.75),(68.855,152.5),(67.5,152.5),(67.5,137.75),(67.055,137.75),(67.055,152.5),(65.7,152.5),(65.7,137.75),(65.255,137.75),(65.255,152.5),(63.9,152.5),(63.9,137.75),(63.455,137.75),(63.455,152.5),(62.1,152.5),(62.1,137.75),(61.655,137.75),(61.655,152.5),(60.3,152.5),(60.3,137.75),(59.855,137.75),(59.855,152.5),(58.5,152.5),(58.5,137.75),(58.055,137.75),(58.055,152.5),(56.7,152.5),(56.7,137.75),(56.255,137.75),(56.255,152.5),(54.9,152.5),(54.9,137.75),(54.455,137.75),(54.455,152.5),(53.1,152.5),(53.1,137.75),(52.655,137.75),(52.655,152.5),(51.3,152.5),(51.3,137.75),(50.855,137.75),(50.855,152.5),(49.5,152.5),(49.5,137.75),(49.055,137.75),(49.055,152.5),(47.7,152.5),(47.7,137.75),(47.255,137.75),(47.255,152.5),(45.9,152.5),(45.9,137.75),(45.455,137.75),(45.455,152.5),(44.1,152.5),(44.1,137.75),(43.655,137.75),(43.655,152.5),(42.3,152.5),(42.3,137.75),(41.855,137.75),(41.855,152.5),(40.5,152.5),(40.5,137.75),(40.055,137.75),(40.055,152.5),(38.7,152.5),(38.7,137.75),(38.255,137.75),(38.255,152.5),(36.9,152.5),(36.9,137.75),(36.455,137.75),(36.455,152.5),(35.1,152.5),(35.1,137.75),(34.655,137.75),(34.655,152.5),(33.3,152.5),(33.3,137.75),(32.855,137.75),(32.855,152.5),(31.5,152.5),(31.5,137.75),(31.055,137.75),(31.055,152.5),(29.7,152.5),(29.7,137.75),(29.255,137.75),(29.255,152.5),(27.9,152.5),(27.9,137.75),(27.455,137.75),(27.455,152.5),(26.1,152.5),(26.1,137.75),(25.655,137.75),(25.655,152.5),(24.3,152.5),(24.3,137.75),(23.855,137.75),(23.855,152.5),(22.5,152.5),(22.5,137.75),(22.055,137.75),(22.055,152.5),(20.7,152.5),(20.7,137.75),(20.255,137.75),(20.255,152.5),(18.9,152.5),(18.9,137.75),(18.455,137.75),(18.455,152.5),(17.1,152.5),(17.1,137.75),(16.655,137.75),(16.655,152.5),(15.3,152.5),(15.3,137.75),(14.855,137.75),(14.855,152.5),(13.5,152.5),(13.5,137.75),(13.055,137.75),(13.055,152.5),(11.7,152.5),(11.7,137.75),(11.255,137.75),(11.255,152.5),(9.9,152.5),(9.9,137.75),(9.455,137.75),(9.455,152.5),(8.1,152.5),(8.1,137.75),(7.655,137.75),(7.655,152.5),(6.3,152.5),(6.3,137.75),(5.855,137.75),(5.855,152.5),(4.5,152.5),(4.5,137.75),(4.055,137.75),(4.055,152.5),(2.7,152.5),(2.7,137.75),(2.255,137.75),(2.255,152.5),(0.9,152.5),(0.9,137.75),(0.455,137.75),(0.455,152.5),(-0.9,152.5),(-0.9,137.75),(-1.345,137.75),(-1.345,152.5),(-2.7,152.5),(-2.7,137.75),(-3.145,137.75),(-3.145,152.5),(-4.5,152.5),(-4.5,137.75),(-4.945,137.75),(-4.945,152.5),(-6.3,152.5),(-6.3,137.75),(-6.745,137.75),(-6.745,152.5),(-8.1,152.5),(-8.1,137.75),(-8.545,137.75),(-8.545,152.5),(-9.9,152.5),(-9.9,137.75),(-10.345,137.75),(-10.345,152.5),(-11.7,152.5),(-11.7,137.75),(-12.145,137.75),(-12.145,152.5),(-13.5,152.5),(-13.5,137.75),(-13.945,137.75),(-13.945,152.5),(-15.3,152.5),(-15.3,137.75),(-15.745,137.75),(-15.745,152.5),(-17.1,152.5),(-17.1,137.75),(-17.545,137.75),(-17.545,152.5),(-18.9,152.5),(-18.9,137.75),(-19.345,137.75),(-19.345,152.5),(-20.7,152.5),(-20.7,137.75),(-21.145,137.75),(-21.145,152.5),(-22.5,152.5),(-22.5,137.75),(-22.945,137.75),(-22.945,152.5),(-24.3,152.5),(-24.3,137.75),(-24.745,137.75),(-24.745,152.5),(-26.1,152.5),(-26.1,137.75),(-26.545,137.75),(-26.545,152.5),(-27.9,152.5),(-27.9,137.75),(-28.345,137.75),(-28.345,152.5),(-29.7,152.5),(-29.7,137.75),(-30.145,137.75),(-30.145,152.5),(-31.5,152.5),(-31.5,137.75),(-31.945,137.75),(-31.945,152.5),(-33.3,152.5),(-33.3,137.75),(-33.745,137.75),(-33.745,152.5),(-35.1,152.5),(-35.1,137.75),(-35.545,137.75),(-35.545,152.5),(-36.9,152.5),(-36.9,137.75),(-37.345,137.75),(-37.345,152.5),(-38.7,152.5),(-38.7,137.75),(-39.145,137.75),(-39.145,152.5),(-40.5,152.5),(-40.5,137.75),(-40.945,137.75),(-40.945,152.5),(-42.3,152.5),(-42.3,137.75),(-42.745,137.75),(-42.745,152.5),(-44.1,152.5),(-44.1,137.75),(-44.545,137.75),(-44.545,152.5),(-45.9,152.5),(-45.9,137.75),(-46.345,137.75),(-46.345,152.5),(-47.7,152.5),(-47.7,137.75),(-48.145,137.75),(-48.145,152.5),(-49.5,152.5),(-49.5,137.75),(-49.945,137.75),(-49.945,152.5),(-51.3,152.5),(-51.3,137.75),(-51.745,137.75),(-51.745,152.5),(-53.1,152.5),(-53.1,137.75),(-53.545,137.75),(-53.545,152.5),(-54.9,152.5),(-54.9,137.75),(-55.345,137.75),(-55.345,152.5),(-56.7,152.5),(-56.7,137.75)])
P(idt_bent, L4_4, [(63.6,-205.5),(63.6,-356.5),(-6.4,-356.5),(-6.4,-256.5),(53.6,-145.5),(353.6,-145.5),(353.6,-205.5),(63.6,-205.5)],
  [(73.6,-215.5),(363.6,-215.5),(363.6,-135.5),(101.6,-135.5),(101.6,-120.5),(403.6,-120.5),(403.6,-356.5),(73.6,-356.5),(73.6,-215.5)],
  [(-1313.6,-65.5),(-1603.6,-65.5),(-1603.6,-5.5),(-1303.6,-5.5),(-1233.6,-115.5),(-1233.6,-215.5),(-1313.6,-215.5),(-1313.6,-65.5)],
  [(-1613.6,-75.5),(-1323.6,-75.5),(-1323.6,-215.5),(-1653.6,-215.5),(-1653.6,19.5),(-1351.6,19.5),(-1351.6,4.5),(-1613.6,4.5),(-1613.6,-75.5)],
  [(63.6,-76.5),(-6.4,-76.5),(-6.4,23.5),(53.6,134.5),(353.6,134.5),(353.6,74.5),(63.6,74.5),(63.6,-76.5)],
  [(73.6,64.5),(363.6,64.5),(363.6,144.5),(101.6,144.5),(101.6,159.5),(403.6,159.5),(403.6,-76.5),(73.6,-76.5),(73.6,64.5)])

lib.write_gds('IDT_bent.gds')
